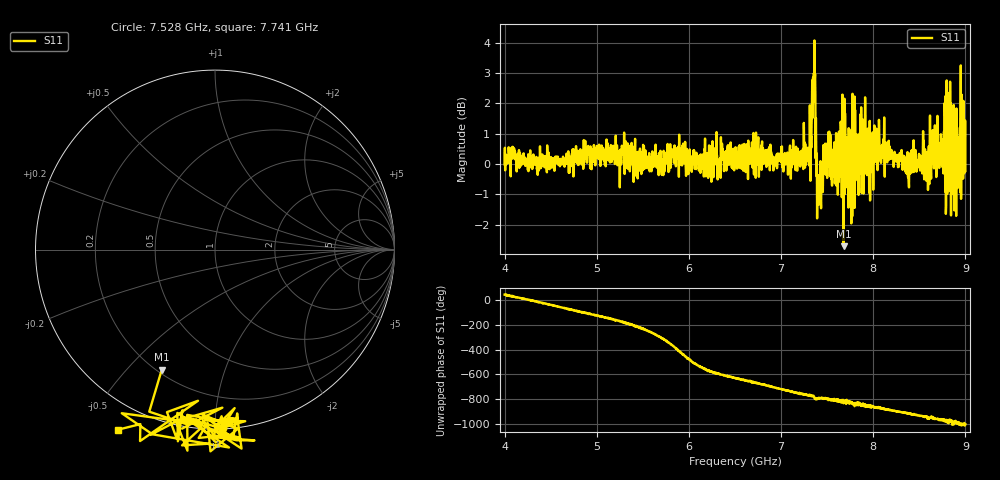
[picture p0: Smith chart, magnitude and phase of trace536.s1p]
! Created with skrf 1.8.0 (http://scikit-rf.org).
# Hz S RI R 50.0
!freq ReS11 ImS11
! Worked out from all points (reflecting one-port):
!   1601 points, 4 GHz to 9 GHz, reference 50 ohm
!   lowest |S11| = -2.7 dB at 7.678 GHz (marker M1), VSWR 6.46, Z = 10.9 - j31.4 ohm
!   phase of S11 starts at 46 deg and turns -1050 deg over the sweep
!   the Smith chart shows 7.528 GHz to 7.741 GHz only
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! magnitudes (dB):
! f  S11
! 4 GHz  0.0
! 4.625 GHz  0.0
! 4.9 GHz  0.5
! 5.25 GHz  -0.8
! 5.875 GHz  0.2
! 6.5 GHz  0.0
! 7.125 GHz  0.4
! 7.294 GHz  0.2
! 7.356 GHz  3.0
! 7.409 GHz  -1.3
! 7.5 GHz  -0.5
! 7.609 GHz  -0.5
! 7.638 GHz  0.0
! 7.65 GHz  1.2
! 7.678 GHz  -2.7
! 7.75 GHz  0.1
! 7.928 GHz  0.4
! 7.981 GHz  -0.3
! 8.119 GHz  1.5
! 8.375 GHz  -0.2
! 8.438 GHz  0.8
! 8.603 GHz  0.6
! 8.656 GHz  0.8
! 8.766 GHz  1.1
! 8.816 GHz  1.0
! 8.875 GHz  1.0
! 8.953 GHz  -1.2
! 9 GHz  -0.2
